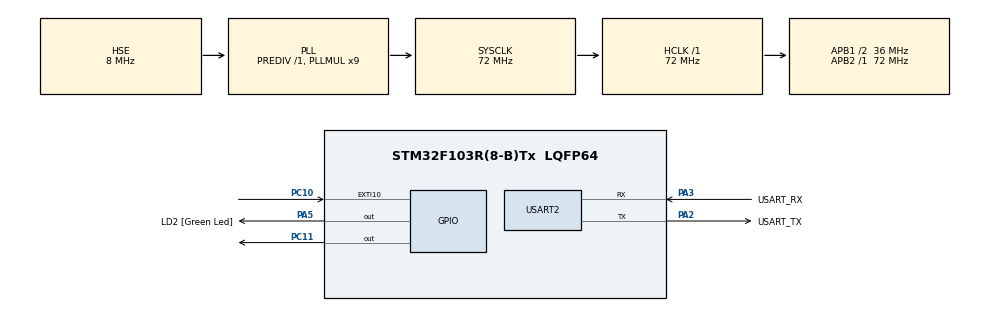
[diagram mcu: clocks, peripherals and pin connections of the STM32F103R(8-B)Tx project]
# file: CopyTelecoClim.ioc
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Mcu.Family=STM32F1
Mcu.Name=STM32F103R(8-B)Tx
Mcu.Package=LQFP64
NVIC.EXTI15_10_IRQn=true\:0\:0\:false\:false\:true\:true\:true
NVIC.PriorityGroup=NVIC_PRIORITYGROUP_4
NVIC.TIM2_IRQn=true\:0\:0\:false\:false\:true\:true\:true
PA13.GPIO_Label=TMS
PA13.Mode=Serial_Wire
PA13.Signal=SYS_JTMS-SWDIO
PA14.GPIO_Label=TCK
PA14.Mode=Serial_Wire
PA14.Signal=SYS_JTCK-SWCLK
PA2.GPIO_Label=USART_TX
PA2.GPIO_Mode=GPIO_MODE_AF_PP
PA2.GPIO_PuPd=GPIO_NOPULL
PA2.GPIO_Speed=GPIO_SPEED_FREQ_LOW
PA2.Mode=Asynchronous
PA2.Signal=USART2_TX
PA3.GPIO_Label=USART_RX
PA3.GPIO_Mode=GPIO_MODE_AF_PP
PA3.GPIO_PuPd=GPIO_NOPULL
PA3.GPIO_Speed=GPIO_SPEED_FREQ_LOW
PA3.Mode=Asynchronous
PA3.Signal=USART2_RX
PA5.GPIO_Label=LD2 [Green Led]
PA5.GPIO_ModeDefaultOutputPP=GPIO_MODE_OUTPUT_PP
PA5.GPIO_PuPd=GPIO_NOPULL
PA5.GPIO_Speed=GPIO_SPEED_FREQ_LOW
PA5.Signal=GPIO_Output
PB3.GPIO_Label=SWO
PB3.Signal=SYS_JTDO-TRACESWO
PC10.GPIO_ModeDefaultEXTI=GPIO_MODE_IT_RISING_FALLING
PC10.Signal=GPXTI10
PC11.Signal=GPIO_Output
PC14-OSC32_IN.Mode=LSE-External-Oscillator
PC14-OSC32_IN.Signal=RCC_OSC32_IN
PC15-OSC32_OUT.Mode=LSE-External-Oscillator
PC15-OSC32_OUT.Signal=RCC_OSC32_OUT
PD0-OSC_IN.Mode=HSE-External-Clock-Source
PD0-OSC_IN.Signal=RCC_OSC_IN
PD1-OSC_OUT.Mode=HSE-External-Clock-Source
PD1-OSC_OUT.Signal=RCC_OSC_OUT
ProjectManager.HeapSize=0x200
ProjectManager.StackSize=0x400
ProjectManager.TargetToolchain=STM32CubeIDE
RCC.AHBFreq_Value=72000000
RCC.APB1CLKDivider=RCC_HCLK_DIV2
RCC.APB1Freq_Value=36000000
RCC.APB1TimFreq_Value=72000000
RCC.APB2Freq_Value=72000000
RCC.APB2TimFreq_Value=72000000
RCC.HCLKFreq_Value=72000000
RCC.PLLMUL=RCC_PLL_MUL9
RCC.PLLSourceVirtual=RCC_PLLSOURCE_HSE
RCC.RTCClockSelection=RCC_RTCCLKSOURCE_LSE
RCC.SYSCLKFreq_VALUE=72000000
RCC.SYSCLKSource=RCC_SYSCLKSOURCE_PLLCLK
RCC.USBFreq_Value=72000000
TIM2.Channel-Output\ Compare1\ No\ Output=TIM_CHANNEL_1
USART2.VirtualMode=VM_ASYNC
VP_TIM2_VS_ClockSourceINT.Mode=Internal
VP_TIM2_VS_no_output1.Mode=Output Compare1 No Output
board=NUCLEO-F103RB

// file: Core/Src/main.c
/* USER CODE BEGIN Header */
/**
  ******************************************************************************
  * @file           : main.c
  * @brief          : Main program body
  ******************************************************************************
  * @attention
  *
  * <h2><center>&copy; Copyright (c) 2022 STMicroelectronics.
  * All rights reserved.</center></h2>
  *
  * This software component is licensed by ST under BSD 3-Clause license,
  * the "License"; You may not use this file except in compliance with the
  * License. You may obtain a copy of the License at:
  *                        opensource.org/licenses/BSD-3-Clause
  *
  ******************************************************************************
  */
/* USER CODE END Header */
#include "main.h"

/* USER CODE BEGIN Includes */
#include "MyIT.h"
/* USER CODE END Includes */

TIM_HandleTypeDef htim2;

UART_HandleTypeDef huart2;

/* USER CODE BEGIN PV */
char Start;
int FrontUp;
char finish;
uint8_t Tab_Ech[Nb_Octets];
uint8_t * pCode;
/* USER CODE END PV */

void SystemClock_Config(void);
static void MX_GPIO_Init(void);
static void MX_USART2_UART_Init(void);
static void MX_TIM2_Init(void);

int main(void)
{

  /* MCU Configuration--------------------------------------------------------*/

  /* Reset of all peripherals, Initializes the Flash interface and the Systick. */
  HAL_Init();

  /* Configure the system clock */
  SystemClock_Config();

  /* Initialize all configured peripherals */
  MX_GPIO_Init();
  MX_USART2_UART_Init();
  MX_TIM2_Init();
  /* USER CODE BEGIN 2 */

  // reprise init Timer2
  TIM2->CR1&=~TIM_CR1_CEN;// timer 2 bloqué
  TIM2->PSC=0;
  TIM2->ARR=72*430-1;

  // validation locale IT pour CCR
  TIM2->CCR1=(TIM2->ARR)/2;
  TIM2->DIER=TIM_DIER_CC1IE;

  MyIT_Init();
  FrontUp=0;
  Start=0;

  // start Timer
  //TIM2->CR1|=TIM_CR1_CEN; // timer 2 bloqué//////////////////////

  // init pointeur Code
  pCode=Tab_Ech;

  /* USER CODE END 2 */

  /* Infinite loop */
  /* USER CODE BEGIN WHILE */
  while (1)
  {
	  if (Start==1)
		  {
		  TIM2->CR1|=TIM_CR1_CEN;
		  }
	  else
	  {
		  TIM2->CR1&=~TIM_CR1_CEN;
	  }

	  if (finish==1) // émission UART 2
	  {
		  HAL_UART_Transmit(&huart2, pCode, Nb_Octets, HAL_MAX_DELAY);
		  finish=0;

	  }

    /* USER CODE END WHILE */

  }
}

void SystemClock_Config(void)
{
  RCC_OscInitTypeDef RCC_OscInitStruct = {0};
  RCC_ClkInitTypeDef RCC_ClkInitStruct = {0};

  /** Initializes the RCC Oscillators according to the specified parameters
  * in the RCC_OscInitTypeDef structure.
  */
  RCC_OscInitStruct.OscillatorType = RCC_OSCILLATORTYPE_HSE;
  RCC_OscInitStruct.HSEState = RCC_HSE_BYPASS;
  RCC_OscInitStruct.HSEPredivValue = RCC_HSE_PREDIV_DIV1;
  RCC_OscInitStruct.HSIState = RCC_HSI_ON;
  RCC_OscInitStruct.PLL.PLLState = RCC_PLL_ON;
  RCC_OscInitStruct.PLL.PLLSource = RCC_PLLSOURCE_HSE;
  RCC_OscInitStruct.PLL.PLLMUL = RCC_PLL_MUL9;
  if (HAL_RCC_OscConfig(&RCC_OscInitStruct) != HAL_OK)
  {
    Error_Handler();
  }
  /** Initializes the CPU, AHB and APB buses clocks
  */
  RCC_ClkInitStruct.ClockType = RCC_CLOCKTYPE_HCLK|RCC_CLOCKTYPE_SYSCLK
                              |RCC_CLOCKTYPE_PCLK1|RCC_CLOCKTYPE_PCLK2;
  RCC_ClkInitStruct.SYSCLKSource = RCC_SYSCLKSOURCE_PLLCLK;
  RCC_ClkInitStruct.AHBCLKDivider = RCC_SYSCLK_DIV1;
  RCC_ClkInitStruct.APB1CLKDivider = RCC_HCLK_DIV2;
  RCC_ClkInitStruct.APB2CLKDivider = RCC_HCLK_DIV1;

  if (HAL_RCC_ClockConfig(&RCC_ClkInitStruct, FLASH_LATENCY_2) != HAL_OK)
  {
    Error_Handler();
  }
}

static void MX_TIM2_Init(void)
{

  TIM_ClockConfigTypeDef sClockSourceConfig = {0};
  TIM_MasterConfigTypeDef sMasterConfig = {0};
  TIM_OC_InitTypeDef sConfigOC = {0};

  htim2.Instance = TIM2;
  htim2.Init.Prescaler = 0;
  htim2.Init.CounterMode = TIM_COUNTERMODE_UP;
  htim2.Init.Period = 65535;
  htim2.Init.ClockDivision = TIM_CLOCKDIVISION_DIV1;
  htim2.Init.AutoReloadPreload = TIM_AUTORELOAD_PRELOAD_DISABLE;
  if (HAL_TIM_Base_Init(&htim2) != HAL_OK)
  {
    Error_Handler();
  }
  sClockSourceConfig.ClockSource = TIM_CLOCKSOURCE_INTERNAL;
  if (HAL_TIM_ConfigClockSource(&htim2, &sClockSourceConfig) != HAL_OK)
  {
    Error_Handler();
  }
  if (HAL_TIM_OC_Init(&htim2) != HAL_OK)
  {
    Error_Handler();
  }
  sMasterConfig.MasterOutputTrigger = TIM_TRGO_RESET;
  sMasterConfig.MasterSlaveMode = TIM_MASTERSLAVEMODE_DISABLE;
  if (HAL_TIMEx_MasterConfigSynchronization(&htim2, &sMasterConfig) != HAL_OK)
  {
    Error_Handler();
  }
  sConfigOC.OCMode = TIM_OCMODE_TIMING;
  sConfigOC.Pulse = 0;
  sConfigOC.OCPolarity = TIM_OCPOLARITY_HIGH;
  sConfigOC.OCFastMode = TIM_OCFAST_DISABLE;
  if (HAL_TIM_OC_ConfigChannel(&htim2, &sConfigOC, TIM_CHANNEL_1) != HAL_OK)
  {
    Error_Handler();
  }

}

static void MX_USART2_UART_Init(void)
{

  huart2.Instance = USART2;
  huart2.Init.BaudRate = 115200;
  huart2.Init.WordLength = UART_WORDLENGTH_8B;
  huart2.Init.StopBits = UART_STOPBITS_1;
  huart2.Init.Parity = UART_PARITY_NONE;
  huart2.Init.Mode = UART_MODE_TX_RX;
  huart2.Init.HwFlowCtl = UART_HWCONTROL_NONE;
  huart2.Init.OverSampling = UART_OVERSAMPLING_16;
  if (HAL_UART_Init(&huart2) != HAL_OK)
  {
    Error_Handler();
  }

}

static void MX_GPIO_Init(void)
{
  GPIO_InitTypeDef GPIO_InitStruct = {0};

  /* GPIO Ports Clock Enable */
  __HAL_RCC_GPIOC_CLK_ENABLE();
  __HAL_RCC_GPIOD_CLK_ENABLE();
  __HAL_RCC_GPIOA_CLK_ENABLE();
  __HAL_RCC_GPIOB_CLK_ENABLE();

  /*Configure GPIO pin Output Level */
  HAL_GPIO_WritePin(LD2_GPIO_Port, LD2_Pin, GPIO_PIN_RESET);

  /*Configure GPIO pin Output Level */
  HAL_GPIO_WritePin(GPIOC, GPIO_PIN_11, GPIO_PIN_RESET);

  /*Configure GPIO pin : LD2_Pin */
  GPIO_InitStruct.Pin = LD2_Pin;
  GPIO_InitStruct.Mode = GPIO_MODE_OUTPUT_PP;
  GPIO_InitStruct.Pull = GPIO_NOPULL;
  GPIO_InitStruct.Speed = GPIO_SPEED_FREQ_LOW;
  HAL_GPIO_Init(LD2_GPIO_Port, &GPIO_InitStruct);

  /*Configure GPIO pin : PC10 */
  GPIO_InitStruct.Pin = GPIO_PIN_10;
  GPIO_InitStruct.Mode = GPIO_MODE_IT_RISING_FALLING;
  GPIO_InitStruct.Pull = GPIO_NOPULL;
  HAL_GPIO_Init(GPIOC, &GPIO_InitStruct);

  /*Configure GPIO pin : PC11 */
  GPIO_InitStruct.Pin = GPIO_PIN_11;
  GPIO_InitStruct.Mode = GPIO_MODE_OUTPUT_PP;
  GPIO_InitStruct.Pull = GPIO_NOPULL;
  GPIO_InitStruct.Speed = GPIO_SPEED_FREQ_LOW;
  HAL_GPIO_Init(GPIOC, &GPIO_InitStruct);

  /* EXTI interrupt init*/
  HAL_NVIC_SetPriority(EXTI15_10_IRQn, 0, 0);
  HAL_NVIC_EnableIRQ(EXTI15_10_IRQn);

}

void Error_Handler(void)
{
  __disable_irq();
  while (1)
  {
  }
}

/************************ (C) COPYRIGHT STMicroelectronics *****END OF FILE****/
